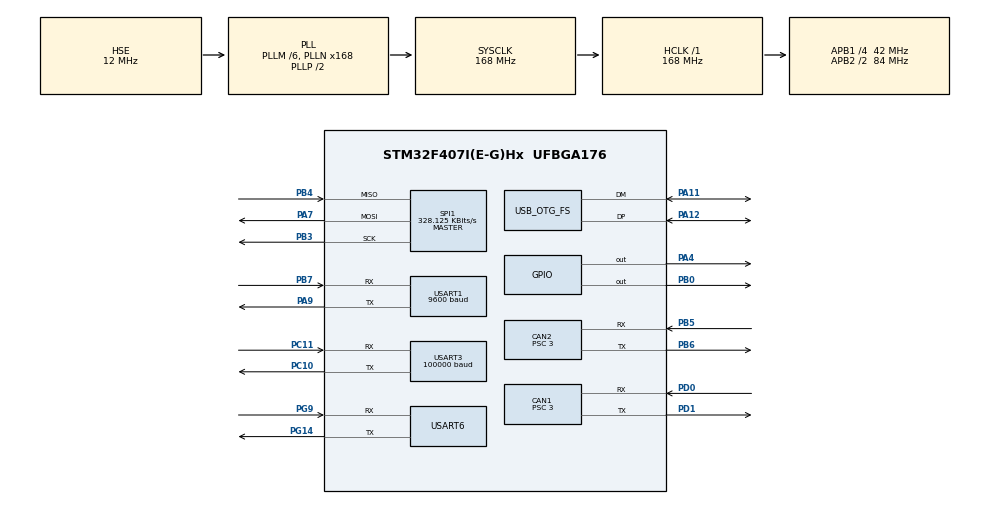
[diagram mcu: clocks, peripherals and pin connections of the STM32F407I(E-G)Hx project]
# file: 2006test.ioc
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CAN1.BS1=CAN_BS1_12TQ
CAN1.BS2=CAN_BS2_1TQ
CAN1.CalculateBaudRate=1000000
CAN1.CalculateTimeBit=1000
CAN1.CalculateTimeQuantum=71.42857142857143
CAN1.NART=ENABLE
CAN1.Prescaler=3
CAN1.TXFP=DISABLE
CAN2.BS1=CAN_BS1_12TQ
CAN2.CalculateBaudRate=1000000
CAN2.CalculateTimeBit=1000
CAN2.CalculateTimeQuantum=71.42857142857143
CAN2.NART=ENABLE
CAN2.Prescaler=3
Dma.Request0=USART3_RX
Dma.USART3_RX.0.Direction=DMA_PERIPH_TO_MEMORY
Dma.USART3_RX.0.FIFOMode=DMA_FIFOMODE_DISABLE
Dma.USART3_RX.0.Instance=DMA1_Stream1
Dma.USART3_RX.0.MemDataAlignment=DMA_MDATAALIGN_BYTE
Dma.USART3_RX.0.MemInc=DMA_MINC_ENABLE
Dma.USART3_RX.0.Mode=DMA_NORMAL
Dma.USART3_RX.0.PeriphDataAlignment=DMA_PDATAALIGN_BYTE
Dma.USART3_RX.0.PeriphInc=DMA_PINC_DISABLE
Dma.USART3_RX.0.Priority=DMA_PRIORITY_HIGH
Mcu.Family=STM32F4
Mcu.Name=STM32F407I(E-G)Hx
Mcu.Package=UFBGA176
NVIC.CAN1_RX0_IRQn=true\:0\:0\:false\:false\:true\:true\:true\:true
NVIC.CAN1_RX1_IRQn=true\:0\:0\:false\:false\:true\:true\:true\:true
NVIC.CAN2_RX0_IRQn=true\:0\:0\:false\:false\:true\:true\:true\:true
NVIC.CAN2_RX1_IRQn=true\:0\:0\:false\:false\:true\:true\:true\:true
NVIC.DMA1_Stream1_IRQn=true\:0\:0\:false\:false\:true\:false\:true\:true
NVIC.OTG_FS_IRQn=true\:0\:0\:false\:false\:true\:false\:true\:true
NVIC.PriorityGroup=NVIC_PRIORITYGROUP_4
NVIC.USART1_IRQn=true\:0\:0\:false\:false\:true\:true\:true\:true
NVIC.USART3_IRQn=true\:0\:0\:false\:false\:true\:true\:true\:true
NVIC.USART6_IRQn=true\:0\:0\:false\:false\:true\:true\:true\:true
PA11.Mode=Device_Only
PA11.Signal=USB_OTG_FS_DM
PA12.Mode=Device_Only
PA12.Signal=USB_OTG_FS_DP
PA13.Mode=Serial_Wire
PA13.Signal=SYS_JTMS-SWDIO
PA14.Mode=Serial_Wire
PA14.Signal=SYS_JTCK-SWCLK
PA4.Signal=GPIO_Output
PA7.Mode=Full_Duplex_Master
PA7.Signal=SPI1_MOSI
PA9.Mode=Asynchronous
PA9.Signal=USART1_TX
PB0.Signal=GPIO_Output
PB3.Mode=Full_Duplex_Master
PB3.Signal=SPI1_SCK
PB4.Mode=Full_Duplex_Master
PB4.Signal=SPI1_MISO
PB5.Mode=CAN_Activate
PB5.Signal=CAN2_RX
PB6.Mode=CAN_Activate
PB6.Signal=CAN2_TX
PB7.Mode=Asynchronous
PB7.Signal=USART1_RX
PC10.Mode=Asynchronous
PC10.Signal=USART3_TX
PC11.Mode=Asynchronous
PC11.Signal=USART3_RX
PD0.Mode=CAN_Activate
PD0.Signal=CAN1_RX
PD1.Mode=CAN_Activate
PD1.Signal=CAN1_TX
PG14.Mode=Asynchronous
PG14.Signal=USART6_TX
PG9.Mode=Asynchronous
PG9.Signal=USART6_RX
PH0-OSC_IN.Mode=HSE-External-Oscillator
PH0-OSC_IN.Signal=RCC_OSC_IN
PH1-OSC_OUT.Mode=HSE-External-Oscillator
PH1-OSC_OUT.Signal=RCC_OSC_OUT
ProjectManager.HeapSize=0x200
ProjectManager.StackSize=0x400
ProjectManager.TargetToolchain=CMake
RCC.48MHZClocksFreq_Value=48000000
RCC.AHBFreq_Value=168000000
RCC.APB1CLKDivider=RCC_HCLK_DIV4
RCC.APB1Freq_Value=42000000
RCC.APB1TimFreq_Value=84000000
RCC.APB2CLKDivider=RCC_HCLK_DIV2
RCC.APB2Freq_Value=84000000
RCC.APB2TimFreq_Value=168000000
RCC.CortexFreq_Value=168000000
RCC.HCLKFreq_Value=168000000
RCC.HSE_VALUE=12000000
RCC.HSI_VALUE=16000000
RCC.LSE_VALUE=32768
RCC.PLLM=6
RCC.PLLN=168
RCC.PLLQ=7
RCC.SYSCLKFreq_VALUE=168000000
RCC.SYSCLKSource=RCC_SYSCLKSOURCE_PLLCLK
RCC.VCOOutputFreq_Value=336000000
SPI1.BaudRatePrescaler=SPI_BAUDRATEPRESCALER_256
SPI1.CLKPhase=SPI_PHASE_2EDGE
SPI1.CLKPolarity=SPI_POLARITY_HIGH
SPI1.CalculateBaudRate=328.125 KBits/s
SPI1.Direction=SPI_DIRECTION_2LINES
SPI1.Mode=SPI_MODE_MASTER
SPI1.VirtualType=VM_MASTER
STMicroelectronics.X-CUBE-ALGOBUILD.1.4.0.LibraryCcDSPOoLibraryJjDSPOoLibrary=true
USART1.BaudRate=9600
USART1.VirtualMode=VM_ASYNC
USART3.BaudRate=100000
USART3.Parity=PARITY_EVEN
USART3.StopBits=STOPBITS_2
USART3.VirtualMode=VM_ASYNC
USART3.WordLength=WORDLENGTH_9B
USART6.VirtualMode=VM_ASYNC
USB_DEVICE.CLASS_NAME_FS=CDC
USB_DEVICE.VirtualMode-CDC_FS=Cdc
USB_DEVICE.VirtualModeFS=Cdc_FS
USB_OTG_FS.VirtualMode=Device_Only
VP_CRC_VS_CRC.Mode=CRC_Activate
VP_STMicroelectronics.X-CUBE-ALGOBUILD_VS_DSPOoLibraryJjLibrary_1.4.0_1.4.0.Mode=DSPOoLibraryJjLibrary
VP_USB_DEVICE_VS_USB_DEVICE_CDC_FS.Mode=CDC_FS
board=custom

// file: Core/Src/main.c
/* USER CODE BEGIN Header */
/**
  ******************************************************************************
  * @file           : main.c
  * @brief          : Main program body
  ******************************************************************************
  * @attention
  *
  * Copyright (c) 2025 STMicroelectronics.
  * All rights reserved.
  *
  * This software is licensed under terms that can be found in the LICENSE file
  * in the root directory of this software component.
  * If no LICENSE file comes with this software, it is provided AS-IS.
  *
  ******************************************************************************
  */
/* USER CODE END Header */
#include "main.h"
#include "can.h"
#include "crc.h"
#include "dma.h"
#include "spi.h"
#include "usart.h"
#include "usb_device.h"
#include "gpio.h"

/* USER CODE BEGIN Includes */
#include "Allheader.h"
/* USER CODE END Includes */

/* USER CODE BEGIN PD */

// 项目模式选择：取消注释其中一个宏定义
// #define USE_MECANUM_MODE    // 麦轮项目模式
#define USE_WHEELLEG_MODE   // 轮腿项目模式（默认）

/* USER CODE END PD */

void SystemClock_Config(void);

/* USER CODE BEGIN 0 */
extern CAN_HandleTypeDef hcan1;

#ifdef USE_WHEELLEG_MODE
// ========== 轮腿项目配置 ==========
M2006_t motors[M2006_MAX_NUM];
int8_t m_dir[M2006_MAX_NUM] = { +1, +1, +1, +1, +1, +1, +1, +1};
GM6020_t gm_motors[GM6020_MAX_NUM];
int8_t gm_dir[GM6020_MAX_NUM] = { +1, +1, +1, +1, +1, +1, +1, +1};
#endif

#ifdef USE_MECANUM_MODE
// ========== 麦轮项目配置 ==========
extern SBUS_Data_t rc;  // SBUS遥控器数据（由sbus.c定义）
M2006_t motors[M2006_MAX_NUM];
int8_t dir[M2006_MAX_NUM] = { +1, +1, -1, -1, +1, +1, +1, +1 };
#endif

// HSS示波器变量 - 速度环模式
__attribute__((used)) volatile float hss_m1_speed_target = 0.0f;    // 速度目标 (RPM)
__attribute__((used)) volatile float hss_m1_speed_actual = 0.0f;    // 速度实际 (RPM)
__attribute__((used)) volatile float hss_m1_speed_error = 0.0f;     // 速度误差 (RPM)
__attribute__((used)) volatile float hss_m1_current_out = 0.0f;     // 电流输出 (mA)

// HSS示波器变量 - 串级模式（位置环）
__attribute__((used)) volatile float hss_m1_pos_target = 0.0f;      // 位置目标 (度)
__attribute__((used)) volatile float hss_m1_pos_actual = 0.0f;      // 位置实际 (度)
__attribute__((used)) volatile float hss_m1_pos_error = 0.0f;       // 位置误差 (度)
__attribute__((used)) volatile float hss_m1_pos_output = 0.0f;      // 位置环输出 (RPM)

// BMI088数据发送缓冲区
static char uart_buffer[256];

/**
 * @brief 通过UART发送BMI088数据
 * @param huart UART句柄
 */
/*void Send_BMI088_Data(UART_HandleTypeDef *huart)
{
    // 格式化输出BMI088数据
    int len = sprintf(uart_buffer,
        "BMI088 Data:\r\n"
        "Accel: X=%.3f, Y=%.3f, Z=%.3f m/s^2\r\n"
        "Gyro:  X=%.3f, Y=%.3f, Z=%.3f rad/s\r\n"
        "Temp:  %.2f C\r\n"
        "--------------------------------\r\n",
        BMI088.Accel[0], BMI088.Accel[1], BMI088.Accel[2],
        BMI088.Gyro[0], BMI088.Gyro[1], BMI088.Gyro[2],
        BMI088.Temperature
    );

    // 通过UART发送
    HAL_UART_Transmit(huart, (uint8_t*)uart_buffer, len, 1000);
}*/

/**
 * @brief 将浮点数拆分为整数部分和两位小数部分（用于不支持%f的printf）
 * @param value 输入的浮点数
 * @param int_part 输出的整数部分指针
 * @param frac_part 输出的小数部分指针（总为正数，范围0-99）
 */
static void float_to_parts(float value, int32_t *int_part, int32_t *frac_part) {
  // 1. 将浮点数放大100倍并转换为整数（实现四舍五入）
  int32_t scaled = (int32_t)(value * 100.0f + (value < 0 ? -0.5f : 0.5f));

  // 2. 分离整数和小数部分
  *int_part = scaled / 100;
  *frac_part = (scaled < 0 ? -scaled : scaled) % 100; // 小数部分始终取正
}

/* USER CODE END 0 */

int main(void)
{

  /* USER CODE BEGIN 1 */
  SEGGER_RTT_Init();
  /* USER CODE END 1 */

  /* MCU Configuration--------------------------------------------------------*/

  /* Reset of all peripherals, Initializes the Flash interface and the Systick. */
  HAL_Init();

  /* Configure the system clock */
  SystemClock_Config();

  /* USER CODE BEGIN SysInit */
  // 初始化DWT，STM32F407通常是168MHz（根据你的实际配置调整）
  DWT_Init(168);  // 如果你的CPU频率是其他值，请修改这里（单位：MHz）
  /* USER CODE END SysInit */

  /* Initialize all configured peripherals */
  MX_GPIO_Init();
  MX_DMA_Init();
  MX_CAN1_Init();
  MX_USART6_UART_Init();
  MX_USART1_UART_Init();
  MX_SPI1_Init();
  MX_USART3_UART_Init();
  MX_USB_DEVICE_Init();
  MX_CRC_Init();
  MX_CAN2_Init();
  /* USER CODE BEGIN 2 */

#ifdef USE_WHEELLEG_MODE
  // ========== 轮腿项目初始化 ==========
  for(int i=0;i<5;i++)
    M2006_InitSingle(&motors[i], &hcan1, i, 5.0f, 0.0f, 0.1f, 2.5f, 0.011f, 0.0f, 5000.0f, 10000.0f);
  GM6020_InitSingle(&gm_motors[2], &hcan1, 2, 5.0f, 0.0f, 0.1f, 2.5f, 0.011f, 0.0f, 300.0f, 30000.0f);
#endif

#ifdef USE_MECANUM_MODE
  // ========== 麦轮项目初始化 ==========
  rc.channels[0] = 1025;
  rc.channels[1] = 1025;
  rc.channels[2] = 240;
  rc.channels[3] = 1025;
  M2006_InitAll(motors, &hcan1);
  User_Uart_Init(&huart1);

  // 配置麦轮应用
  MecanumAppConfig_t mecanum_config = {
      .motors = motors,
      .motor_directions = dir,
      .gripper_uart = &huart1,  // 麦轮夹爪串口（非FSUS舵机）
      .deadzone = 200.0f
  };
  MecanumApp_Init(&mecanum_config);

  uint32_t last = HAL_GetTick();

  // 设置麦轮电机为速度控制模式
  for (int i = 0; i < 4; i++) {
      M2006_SetControlMode(&motors[i], M2006_MODE_SPEED);
  }
#endif

  /*// 初始化BMI088（0表示不使用在线标定，使用离线参数）
  uint8_t bmi088_error = BMI088Init(&hspi1, 0);
  if (bmi088_error != BMI088_NO_ERROR)
  {
    // 初始化失败，通过UART发送错误信息
    char error_msg[64];
    int len = sprintf(error_msg, "BMI088 Init Failed! Error: 0x%02X\r\n", bmi088_error);
    HAL_UART_Transmit(&huart1, (uint8_t*)error_msg, len, 1000);
  }
  else
  {
    // 初始化成功
    HAL_UART_Transmit(&huart1, (uint8_t*)"BMI088 Init Success!\r\n", 22, 1000);
  }*/

#ifdef USE_WHEELLEG_MODE
  // ========== 轮腿项目专用设置 ==========
  HAL_Delay(500);

  demo_motor_init_lowpos();
  HAL_Delay(1000);
  M2006_SetControlMode(&motors[0], M2006_MODE_SPEED);
  M2006_SetControlMode(&motors[1], M2006_MODE_SPEED);
  M2006_SetControlMode(&motors[2], M2006_MODE_SPEED);
  M2006_SetControlMode(&motors[3], M2006_MODE_SPEED);
  M2006_SetControlMode(&motors[4], M2006_MODE_SPEED);
  GM6020_SetControlMode(&gm_motors[3], GM6020_MODE_SPEED);
  M2006_SetSpeedTarget(&motors[0], m_dir[0] * 1500.0f);
  M2006_SetSpeedTarget(&motors[1], m_dir[1] * 1500.0f);
  M2006_SetSpeedTarget(&motors[2], m_dir[2] * 500.0f);
  M2006_SetSpeedTarget(&motors[3], m_dir[3] * 1500.0f);
  M2006_SetSpeedTarget(&motors[4], m_dir[4] * 800.0f);
  GM6020_SetSpeedTarget(&gm_motors[3], gm_dir[3] * 300.0f);
  M2006_SetPosTarget(&motors[0], m_dir[0] * 0.0f);
  M2006_SetPosTarget(&motors[1], m_dir[1] * 0.0f);

  HAL_Delay(500);
#endif

#ifdef USE_MECANUM_MODE
  // ========== 麦轮项目专用设置 ==========
  HAL_Delay(500);
#endif

  // ===== PID参数打印（支持双模式）=====
  SEGGER_RTT_printf(0, "\n========================================\n");

  if (motors[0].mode == M2006_MODE_SPEED) {
    // 速度环模式
    int32_t kp_int, kp_frac, ki_int, ki_frac, kd_int, kd_frac, max_int, max_frac;
    float_to_parts(motors[0].controller.inner_loop.Kp, &kp_int, &kp_frac);
    float_to_parts(motors[0].controller.inner_loop.Ki, &ki_int, &ki_frac);
    float_to_parts(motors[0].controller.inner_loop.Kd, &kd_int, &kd_frac);
    float_to_parts(motors[0].controller.inner_loop.output_max, &max_int, &max_frac);

    int32_t target_int, target_frac;
    float_to_parts(motors[0].target, &target_int, &target_frac);

    SEGGER_RTT_printf(0, "===== Speed Loop Mode =====\n");
    SEGGER_RTT_printf(0, "Inner Loop (Speed): Kp=%s%d.%02d, Ki=%s%d.%02d, Kd=%s%d.%02d, MaxOut=%s%d.%02d\n",
                      (motors[0].controller.inner_loop.Kp < 0 ? "-" : ""), (kp_int < 0 ? -kp_int : kp_int), kp_frac,
                      (motors[0].controller.inner_loop.Ki < 0 ? "-" : ""), (ki_int < 0 ? -ki_int : ki_int), ki_frac,
                      (motors[0].controller.inner_loop.Kd < 0 ? "-" : ""), (kd_int < 0 ? -kd_int : kd_int), kd_frac,
                      (motors[0].controller.inner_loop.output_max < 0 ? "-" : ""), (max_int < 0 ? -max_int : max_int), max_frac);
    SEGGER_RTT_printf(0, "Initial Target: %s%d.%02d RPM\n",
                      (motors[0].target < 0 ? "-" : ""),
                      (target_int < 0 ? -target_int : target_int),
                      target_frac);
  }
  else if (motors[0].mode == M2006_MODE_CASCADE) {
    // 串级模式
    int32_t okp_int, okp_frac, oki_int, oki_frac, okd_int, okd_frac, omax_int, omax_frac;
    int32_t ikp_int, ikp_frac, iki_int, iki_frac, ikd_int, ikd_frac, imax_int, imax_frac;

    // 外环参数
    float_to_parts(motors[0].controller.outer_loop.Kp, &okp_int, &okp_frac);
    float_to_parts(motors[0].controller.outer_loop.Ki, &oki_int, &oki_frac);
    float_to_parts(motors[0].controller.outer_loop.Kd, &okd_int, &okd_frac);
    float_to_parts(motors[0].controller.outer_loop.output_max, &omax_int, &omax_frac);

    // 内环参数
    float_to_parts(motors[0].controller.inner_loop.Kp, &ikp_int, &ikp_frac);
    float_to_parts(motors[0].controller.inner_loop.Ki, &iki_int, &iki_frac);
    float_to_parts(motors[0].controller.inner_loop.Kd, &ikd_int, &ikd_frac);
    float_to_parts(motors[0].controller.inner_loop.output_max, &imax_int, &imax_frac);

    int32_t target_int, target_frac;
    float_to_parts(motors[0].target, &target_int, &target_frac);

    SEGGER_RTT_printf(0, "===== Cascade Mode (Position + Speed) =====\n");
    SEGGER_RTT_printf(0, "Outer Loop (Position): Kp=%s%d.%02d, Ki=%s%d.%02d, Kd=%s%d.%02d, MaxOut=%s%d.%02d RPM\n",
                      (motors[0].controller.outer_loop.Kp < 0 ? "-" : ""), (okp_int < 0 ? -okp_int : okp_int), okp_frac,
                      (motors[0].controller.outer_loop.Ki < 0 ? "-" : ""), (oki_int < 0 ? -oki_int : oki_int), oki_frac,
                      (motors[0].controller.outer_loop.Kd < 0 ? "-" : ""), (okd_int < 0 ? -okd_int : okd_int), okd_frac,
                      (motors[0].controller.outer_loop.output_max < 0 ? "-" : ""), (omax_int < 0 ? -omax_int : omax_int), omax_frac);
    SEGGER_RTT_printf(0, "Inner Loop (Speed): Kp=%s%d.%02d, Ki=%s%d.%02d, Kd=%s%d.%02d, MaxOut=%s%d.%02d mA\n",
                      (motors[0].controller.inner_loop.Kp < 0 ? "-" : ""), (ikp_int < 0 ? -ikp_int : ikp_int), ikp_frac,
                      (motors[0].controller.inner_loop.Ki < 0 ? "-" : ""), (iki_int < 0 ? -iki_int : iki_int), iki_frac,
                      (motors[0].controller.inner_loop.Kd < 0 ? "-" : ""), (ikd_int < 0 ? -ikd_int : ikd_int), ikd_frac,
                      (motors[0].controller.inner_loop.output_max < 0 ? "-" : ""), (imax_int < 0 ? -imax_int : imax_int), imax_frac);
    SEGGER_RTT_printf(0, "Initial Target: %s%d.%02d Degrees\n",
                      (motors[0].target < 0 ? "-" : ""),
                      (target_int < 0 ? -target_int : target_int),
                      target_frac);
  }

  SEGGER_RTT_printf(0, "========================================\n");
  static uint32_t loop_counter = 0;
  /* USER CODE END 2 */

  /* Infinite loop */
  /* USER CODE BEGIN WHILE */
  while (1)
  {
#ifdef USE_WHEELLEG_MODE
    // ========== 轮腿项目主循环 ==========
    M2006_UpdateAll(motors, 5);
    GM6020_UpdateAll(gm_motors, 8);

#endif

#ifdef USE_MECANUM_MODE
    // ========== 麦轮项目主循环 ==========
    if (HAL_GetTick() - last >= 1)
    {
      last = HAL_GetTick();

      // 麦轮应用统一更新（包含遥控器输入、底盘控制、夹爪控制、电机PID）
      MecanumApp_Update(&rc);
    }
#endif

    // ===== 更新HSS示波器变量（根据模式） =====
    if (motors[0].mode == M2006_MODE_SPEED) {
      // 速度环模式
      hss_m1_speed_target = motors[0].target;
      hss_m1_speed_actual = motors[0].feedback.speed_filtered;
      hss_m1_speed_error = motors[0].controller.inner_loop.last_error;
      hss_m1_current_out = motors[0].controller.inner_loop.output;
    }
    else if (motors[0].mode == M2006_MODE_CASCADE) {
      // 串级模式
      hss_m1_pos_target = motors[0].target;
      hss_m1_pos_actual = motors[0].feedback.angle_continuous;
      hss_m1_pos_error = motors[0].controller.outer_loop.last_error;
      hss_m1_pos_output = motors[0].controller.outer_loop.output;
      hss_m1_speed_target = motors[0].controller.outer_loop.output;
      hss_m1_speed_actual = motors[0].feedback.speed_filtered;
      hss_m1_speed_error = motors[0].controller.inner_loop.last_error;
      hss_m1_current_out = motors[0].controller.inner_loop.output;
    }

    /*// ===== 每100次循环打印一次反馈频率（每100ms） =====
    if (loop_counter % 100 == 0) {
      uint32_t feedback_freq = M2006_GetFeedbackFrequency(0);
      SEGGER_RTT_printf(0, "[Feedback Freq] Motor 1 CAN Feedback: %lu Hz\n", feedback_freq);
    }*/

    // ===== 每10次循环打印一行紧凑数据 =====
    if (loop_counter % 10 == 0) {
      if (motors[0].mode == M2006_MODE_SPEED) {
        // 速度环模式：打印速度环信息
        int32_t t_int, t_frac, a_int, a_frac, e_int, e_frac, o_int, o_frac, i_int, i_frac;
        float_to_parts(motors[0].target, &t_int, &t_frac);
        float_to_parts(motors[0].feedback.speed_filtered, &a_int, &a_frac);
        float_to_parts(motors[0].controller.inner_loop.last_error, &e_int, &e_frac);
        float_to_parts(motors[0].controller.inner_loop.output, &o_int, &o_frac);
        float_to_parts(motors[0].controller.inner_loop.Ki * motors[0].controller.inner_loop.integral, &i_int, &i_frac);

        SEGGER_RTT_printf(0,
            "[%05lu] Target:%s%4d.%02d | Actual:%s%5d.%02d | Error:%s%6d.%02d | PID_Out:%s%7d.%02d | I-Term:%s%9d.%02d\n",
            loop_counter,
            (motors[0].target < 0 ? "-" : " "), (t_int < 0 ? -t_int : t_int), t_frac,
            (motors[0].feedback.speed_rpm < 0 ? "-" : " "), (a_int < 0 ? -a_int : a_int), a_frac,
            (motors[0].controller.inner_loop.last_error < 0 ? "-" : " "), (e_int < 0 ? -e_int : e_int), e_frac,
            (motors[0].controller.inner_loop.output < 0 ? "-" : " "), (o_int < 0 ? -o_int : o_int), o_frac,
            (motors[0].controller.inner_loop.integral < 0 ? "-" : " "), (i_int < 0 ? -i_int : i_int), i_frac
        );
      }
      else if (motors[0].mode == M2006_MODE_CASCADE) {
        // 串级模式：打印双环信息
        int32_t pt_int, pt_frac, pa_int, pa_frac, pe_int, pe_frac, po_int, po_frac;
        int32_t st_int, st_frac, sa_int, sa_frac, se_int, se_frac, so_int, so_frac;

        // 外环（位置环）数据
        float_to_parts(motors[0].target, &pt_int, &pt_frac);
        float_to_parts(motors[0].feedback.angle_continuous, &pa_int, &pa_frac);
        float_to_parts(motors[0].controller.outer_loop.last_error, &pe_int, &pe_frac);
        float_to_parts(motors[0].controller.outer_loop.output, &po_int, &po_frac);

        // 内环（速度环）数据
        float_to_parts(motors[0].controller.outer_loop.output, &st_int, &st_frac); // 内环目标=外环输出
        float_to_parts(motors[0].feedback.speed_filtered, &sa_int, &sa_frac);
        float_to_parts(motors[0].controller.inner_loop.last_error, &se_int, &se_frac);
        float_to_parts(motors[0].controller.inner_loop.output, &so_int, &so_frac);

        SEGGER_RTT_printf(0,
            "[%05lu][Cascade] Pos_T:%s%4d.%02d | Pos_A:%s%4d.%02d | Pos_E:%s%5d.%02d | Spd_T:%s%5d.%02d ; ",
            loop_counter,
            (motors[0].target < 0 ? "-" : " "), (pt_int < 0 ? -pt_int : pt_int), pt_frac,
            (motors[0].feedback.angle_continuous < 0 ? "-" : " "), (pa_int < 0 ? -pa_int : pa_int), pa_frac,
            (motors[0].controller.outer_loop.last_error < 0 ? "-" : " "), (pe_int < 0 ? -pe_int : pe_int), pe_frac,
            (motors[0].controller.outer_loop.output < 0 ? "-" : " "), (st_int < 0 ? -st_int : st_int), st_frac
        );
        SEGGER_RTT_printf(0,
            "Spd_A:%s%5d.%02d | Spd_E:%s%5d.%02d | Cur_Out:%s%6d.%02d\n",
            (motors[0].feedback.speed_filtered < 0 ? "-" : " "), (sa_int < 0 ? -sa_int : sa_int), sa_frac,
            (motors[0].controller.inner_loop.last_error < 0 ? "-" : " "), (se_int < 0 ? -se_int : se_int), se_frac,
            (motors[0].controller.inner_loop.output < 0 ? "-" : " "), (so_int < 0 ? -so_int : so_int), so_frac
        );
      }
    }
    loop_counter++;

    HAL_Delay(1);
    /*// 读取BMI088数据
    BMI088_Read(&BMI088);

    // 发送数据并通过UART1输出（每100ms发送一次，10Hz频率）
    Send_BMI088_Data(&huart1);

    // 延时100ms，控制发送频率为10Hz
    HAL_Delay(100);*/
    /* USER CODE END WHILE */

  }
}

void SystemClock_Config(void)
{
  RCC_OscInitTypeDef RCC_OscInitStruct = {0};
  RCC_ClkInitTypeDef RCC_ClkInitStruct = {0};

  /** Configure the main internal regulator output voltage
  */
  __HAL_RCC_PWR_CLK_ENABLE();
  __HAL_PWR_VOLTAGESCALING_CONFIG(PWR_REGULATOR_VOLTAGE_SCALE1);

  /** Initializes the RCC Oscillators according to the specified parameters
  * in the RCC_OscInitTypeDef structure.
  */
  RCC_OscInitStruct.OscillatorType = RCC_OSCILLATORTYPE_HSE;
  RCC_OscInitStruct.HSEState = RCC_HSE_ON;
  RCC_OscInitStruct.PLL.PLLState = RCC_PLL_ON;
  RCC_OscInitStruct.PLL.PLLSource = RCC_PLLSOURCE_HSE;
  RCC_OscInitStruct.PLL.PLLM = 6;
  RCC_OscInitStruct.PLL.PLLN = 168;
  RCC_OscInitStruct.PLL.PLLP = RCC_PLLP_DIV2;
  RCC_OscInitStruct.PLL.PLLQ = 7;
  if (HAL_RCC_OscConfig(&RCC_OscInitStruct) != HAL_OK)
  {
    Error_Handler();
  }

  /** Initializes the CPU, AHB and APB buses clocks
  */
  RCC_ClkInitStruct.ClockType = RCC_CLOCKTYPE_HCLK|RCC_CLOCKTYPE_SYSCLK
                              |RCC_CLOCKTYPE_PCLK1|RCC_CLOCKTYPE_PCLK2;
  RCC_ClkInitStruct.SYSCLKSource = RCC_SYSCLKSOURCE_PLLCLK;
  RCC_ClkInitStruct.AHBCLKDivider = RCC_SYSCLK_DIV1;
  RCC_ClkInitStruct.APB1CLKDivider = RCC_HCLK_DIV4;
  RCC_ClkInitStruct.APB2CLKDivider = RCC_HCLK_DIV2;

  if (HAL_RCC_ClockConfig(&RCC_ClkInitStruct, FLASH_LATENCY_5) != HAL_OK)
  {
    Error_Handler();
  }
}

void Error_Handler(void)
{
  __disable_irq();
  while (1)
  {
  }
}
